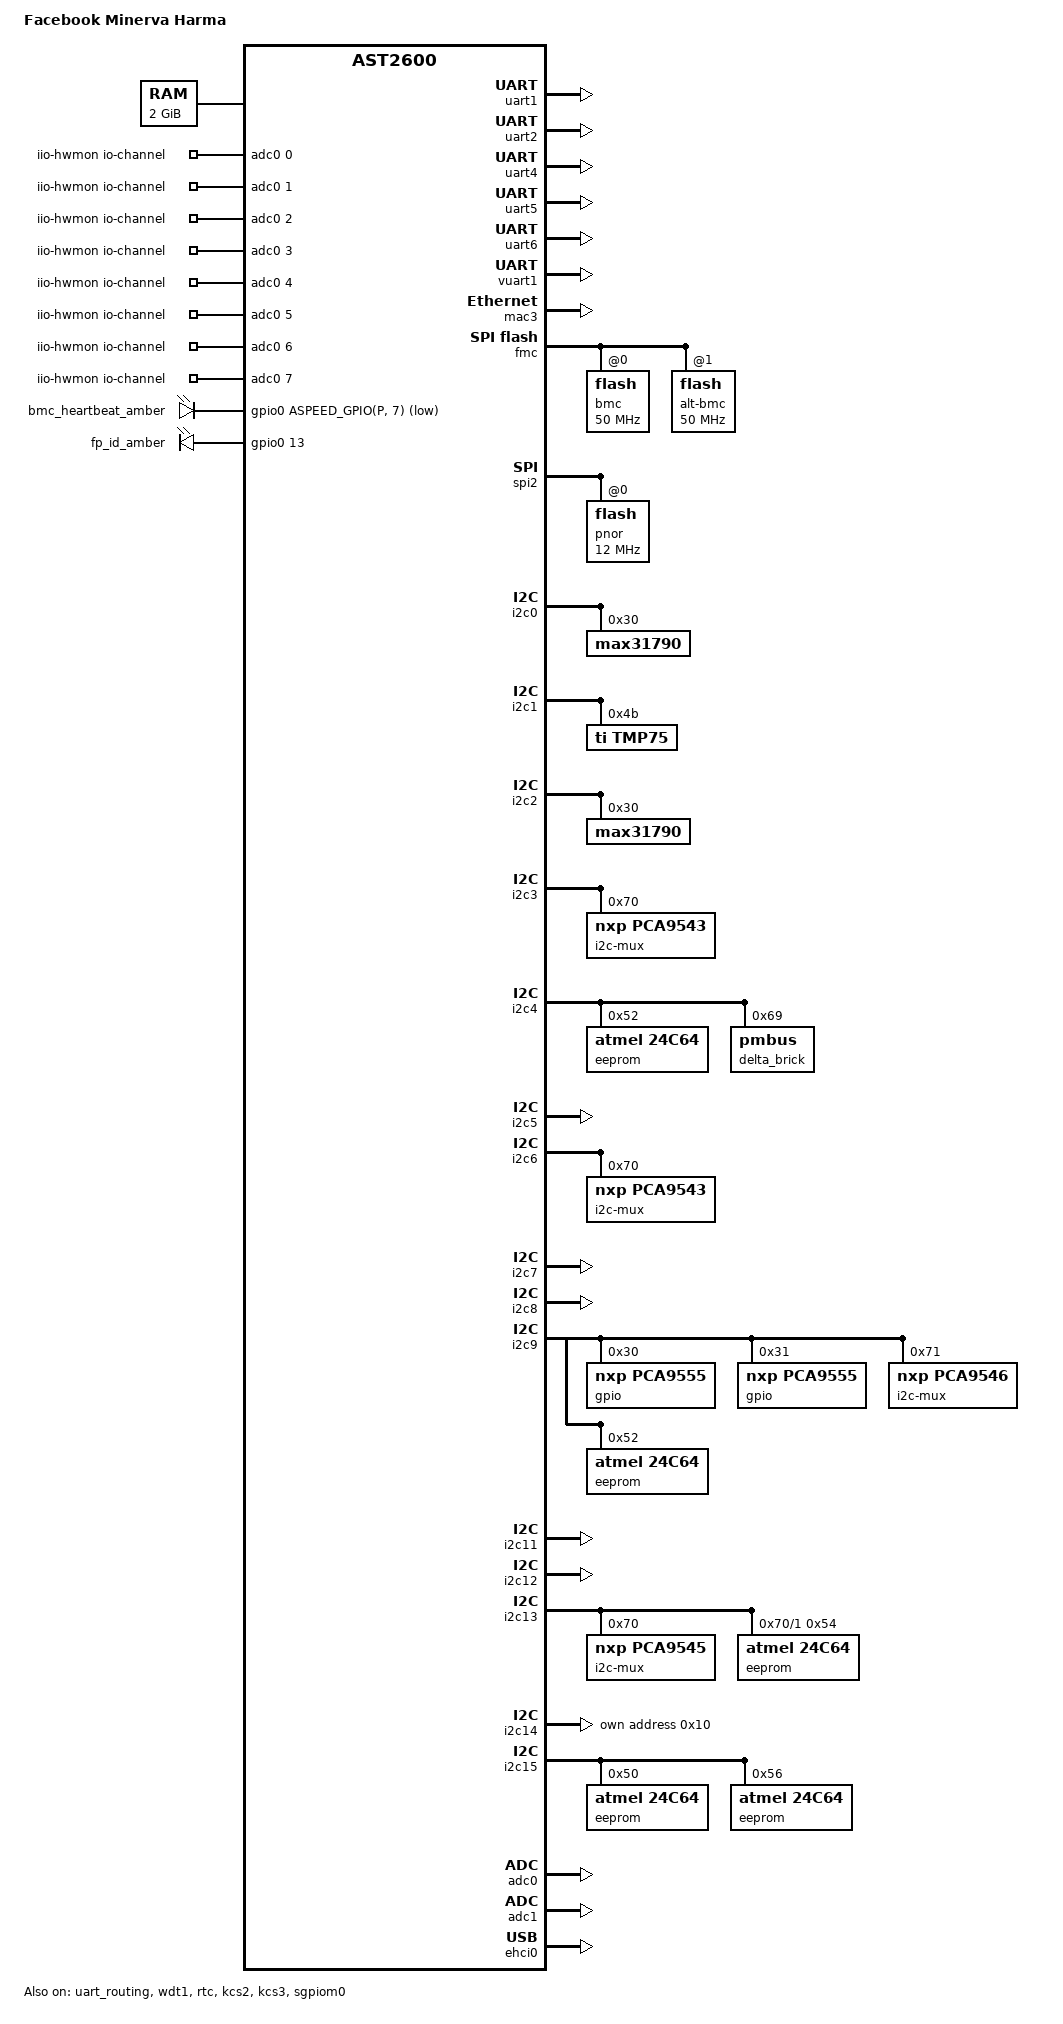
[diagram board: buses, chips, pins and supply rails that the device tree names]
// SPDX-License-Identifier: GPL-2.0-or-later
// Copyright 2023 Facebook Inc.

/dts-v1/;
#include "aspeed-g6.dtsi"
#include <dt-bindings/gpio/aspeed-gpio.h>
#include <dt-bindings/i2c/i2c.h>

/ {
	model = "Facebook Minerva Harma";
	compatible = "facebook,minerva-harma", "aspeed,ast2600";

	aliases {
		serial0 = &uart1;
		serial1 = &uart6;
		serial2 = &uart2;
		serial4 = &uart5;

		i2c20 = &imux20;
		i2c21 = &imux21;
		i2c22 = &imux22;
		i2c23 = &imux23;
		i2c24 = &imux24;
		i2c25 = &imux25;
		i2c26 = &imux26;
		i2c27 = &imux27;
		i2c28 = &imux28;
		i2c29 = &imux29;
		i2c30 = &imux30;
		i2c31 = &imux31;
	};

	chosen {
		stdout-path = &uart5;
	};

	memory@80000000 {
		device_type = "memory";
		reg = <0x80000000 0x80000000>;
	};

	iio-hwmon {
		compatible = "iio-hwmon";
		io-channels = <&adc0 0>, <&adc0 1>, <&adc0 2>, <&adc0 3>,
			      <&adc0 4>, <&adc0 5>, <&adc0 6>, <&adc0 7>,
			      <&adc1 2>;
	};

	leds {
		compatible = "gpio-leds";

		led-0 {
			label = "bmc_heartbeat_amber";
			gpios = <&gpio0 ASPEED_GPIO(P, 7) GPIO_ACTIVE_LOW>;
			linux,default-trigger = "heartbeat";
		};

		led-1 {
			label = "fp_id_amber ";
			default-state = "off";
			gpios = <&gpio0 13 GPIO_ACTIVE_HIGH>;
		};
	};
};

// HOST BIOS Debug
&uart1 {
	status = "okay";
};

// SOL Host Console
&uart2 {
	status = "okay";
	pinctrl-0 = <>;
};

// SOL BMC Console
&uart4 {
	status = "okay";
	pinctrl-0 = <>;
};

// BMC Debug Console
&uart5 {
	status = "okay";
};

// MTIA
&uart6 {
	status = "okay";
};

&uart_routing {
	status = "okay";
};

&vuart1 {
	status = "okay";
	virtual;
	port=<0x3e8>;
	sirq = <7>;
	sirq-polarity = <0>;
	dma-mode;
	dma-channel = <12>;
};

&wdt1 {
	status = "okay";
	pinctrl-names = "default";
	pinctrl-0 = <&pinctrl_wdtrst1_default>;
	aspeed,reset-type = "soc";
	aspeed,external-signal;
	aspeed,ext-push-pull;
	aspeed,ext-active-high;
	aspeed,ext-pulse-duration = <256>;
};

&mac3 {
	status = "okay";
	pinctrl-names = "default";
	pinctrl-0 = <&pinctrl_rmii4_default>;
	no-hw-checksum;
	use-ncsi;
	ncsi-ctrl,start-redo-probe;
	ncsi-ctrl,no-channel-monitor;
	mlx,multi-host;
	ncsi-package = <1>;
	ncsi-channel = <1>;
	ncsi-rexmit = <1>;
	ncsi-timeout = <2>;
};

&rtc {
	status = "okay";
};

&fmc {
	status = "okay";

	flash@0 {
		status = "okay";
		m25p,fast-read;
		label = "bmc";
		spi-max-frequency = <50000000>;
#include "openbmc-flash-layout-128.dtsi"
	};

	flash@1 {
		status = "okay";
		m25p,fast-read;
		label = "alt-bmc";
		spi-max-frequency = <50000000>;
	};
};

// BIOS Flash
&spi2 {
	status = "okay";
	pinctrl-names = "default";
	pinctrl-0 = <&pinctrl_spi2_default>;

	flash@0 {
		status = "okay";
		m25p,fast-read;
		label = "pnor";
		spi-max-frequency = <12000000>;
		spi-tx-bus-width = <2>;
		spi-rx-bus-width = <2>;
	};
};

&kcs2 {
	status = "okay";
	aspeed,lpc-io-reg = <0xca8>;
};

&kcs3 {
	status = "okay";
	aspeed,lpc-io-reg = <0xca2>;
};

&i2c0 {
	status = "okay";

	max31790@30{
		compatible = "max31790";
		reg = <0x30>;
		#address-cells = <1>;
		#size-cells = <0>;
	};
};

&i2c1 {
	status = "okay";

	tmp75@4b {
		compatible = "ti,tmp75";
		reg = <0x4b>;
	};
};

&i2c2 {
	status = "okay";

	max31790@30{
		compatible = "max31790";
		reg = <0x30>;
		#address-cells = <1>;
		#size-cells = <0>;
	};
};

&i2c3 {
	status = "okay";

	i2c-mux@70 {
		compatible = "nxp,pca9543";
		reg = <0x70>;
		#address-cells = <1>;
		#size-cells = <0>;

		imux20: i2c@0 {
			#address-cells = <1>;
			#size-cells = <0>;
			reg = <0>;
		};
		imux21: i2c@1 {
			#address-cells = <1>;
			#size-cells = <0>;
			reg = <1>;
		};
	};
};

&i2c4 {
	status = "okay";
	// PDB FRU
	eeprom@52 {
		compatible = "atmel,24c64";
		reg = <0x52>;
	};

	delta_brick@69 {
		compatible = "pmbus";
		reg = <0x69>;
	};
};

&i2c5 {
	status = "okay";
};

&i2c6 {
	status = "okay";

	i2c-mux@70 {
		compatible = "nxp,pca9543";
		reg = <0x70>;
		#address-cells = <1>;
		#size-cells = <0>;

		imux22: i2c@0 {
			#address-cells = <1>;
			#size-cells = <0>;
			reg = <0>;
		};
		imux23: i2c@1 {
			#address-cells = <1>;
			#size-cells = <0>;
			reg = <1>;
		};
	};
};

&i2c7 {
	status = "okay";
};

&i2c8 {
	status = "okay";
};

&i2c9 {
	status = "okay";

	gpio@30 {
		compatible = "nxp,pca9555";
		reg = <0x30>;
		gpio-controller;
		#gpio-cells = <2>;
	};
	gpio@31 {
		compatible = "nxp,pca9555";
		reg = <0x31>;
		gpio-controller;
		#gpio-cells = <2>;
	};

	i2c-mux@71 {
		compatible = "nxp,pca9546";
		reg = <0x71>;
		#address-cells = <1>;
		#size-cells = <0>;

		imux24: i2c@0 {
			#address-cells = <1>;
			#size-cells = <0>;
			reg = <0>;
		};
		imux25: i2c@1 {
			#address-cells = <1>;
			#size-cells = <0>;
			reg = <1>;
		};
		imux26: i2c@2 {
			#address-cells = <1>;
			#size-cells = <0>;
			reg = <2>;
		};
		imux27: i2c@3 {
			#address-cells = <1>;
			#size-cells = <0>;
			reg = <3>;
		};
	};
	// PTTV FRU
	eeprom@52 {
		compatible = "atmel,24c64";
		reg = <0x52>;
	};
};

&i2c11 {
	status = "okay";
};

&i2c12 {
	status = "okay";
};

&i2c13 {
	status = "okay";

	i2c-mux@70 {
		compatible = "nxp,pca9545";
		reg = <0x70>;
		#address-cells = <1>;
		#size-cells = <0>;

		imux28: i2c@0 {
			#address-cells = <1>;
			#size-cells = <0>;
			reg = <0>;
		};
		imux29: i2c@1 {
			#address-cells = <1>;
			#size-cells = <0>;
			reg = <1>;
			//MB FRU
			eeprom@54 {
				compatible = "atmel,24c64";
				reg = <0x54>;
			};
		};
		imux30: i2c@2 {
			#address-cells = <1>;
			#size-cells = <0>;
			reg = <2>;
		};
		imux31: i2c@3 {
			#address-cells = <1>;
			#size-cells = <0>;
			reg = <3>;
		};
	};
};

// To Debug card
&i2c14 {
	status = "okay";
	multi-master;

	ipmb@10 {
		compatible = "ipmb-dev";
		reg = <(0x10 | I2C_OWN_SLAVE_ADDRESS)>;
		i2c-protocol;
	};
};

&i2c15 {
	status = "okay";

	// SCM FRU
	eeprom@50 {
		compatible = "atmel,24c64";
		reg = <0x50>;
	};

	// BSM FRU
	eeprom@56 {
		compatible = "atmel,24c64";
		reg = <0x56>;
	};
};

&adc0 {
	aspeed,int-vref-microvolt = <2500000>;
	status = "okay";
	pinctrl-0 = <&pinctrl_adc0_default &pinctrl_adc1_default
		&pinctrl_adc2_default &pinctrl_adc3_default
		&pinctrl_adc4_default &pinctrl_adc5_default
		&pinctrl_adc6_default &pinctrl_adc7_default>;
};

&adc1 {
	aspeed,int-vref-microvolt = <2500000>;
	status = "okay";
	pinctrl-names = "default";
	pinctrl-0 = <&pinctrl_adc10_default>;
};

&ehci0 {
	status = "okay";
};

&gpio0 {
	pinctrl-names = "default";
	gpio-line-names =
	/*A0-A7*/	"","","","","","","","",
	/*B0-B7*/	"","","","",
			"FM_BMC_MUX_CS_SPI_SEL_0","FM_ID_LED_N","","",
	/*C0-C7*/	"","","","","","","","",
	/*D0-D7*/	"","","SOL_UART_SET","","","","","",
	/*E0-E7*/	"","","","","","","","",
	/*F0-F7*/	"","","","","","","","",
	/*G0-G7*/	"","","","","","","","",
	/*H0-H7*/	"","","","","","","","",
	/*I0-I7*/	"","","","","","","","",
	/*J0-J7*/	"","","","","","","","",
	/*K0-K7*/	"","","","","","","","",
	/*L0-L7*/	"","","","","","","","",
	/*M0-M7*/	"","","","","","","","",
	/*N0-N7*/	"LED_POSTCODE_0","LED_POSTCODE_1",
			"LED_POSTCODE_2","LED_POSTCODE_3",
			"LED_POSTCODE_4","LED_POSTCODE_5",
			"LED_POSTCODE_6","LED_POSTCODE_7",
	/*O0-O7*/	"","","","","","","","",
	/*P0-P7*/	"FP_SYS_PWRBTN_IN_N","BMC_SYS_PWRBTN_OUT_N",
			"FP_RST_BTN_IN_N","","","","","",
	/*Q0-Q7*/	"","","","","","","","",
	/*R0-R7*/	"","","","","","","","",
	/*S0-S7*/	"","","","","","","","",
	/*T0-T7*/	"","","","","","","","",
	/*U0-U7*/	"","","","","","","","",
	/*V0-V7*/	"","","","","BAT_DETECT","","","",
	/*W0-W7*/	"","","","","","","","",
	/*X0-X7*/	"","","","","","","","",
	/*Y0-Y7*/	"","","","","","","","",
	/*Z0-Z7*/	"","","","","","","","";
};

&sgpiom0 {
	status = "okay";
	max-ngpios = <128>;
	ngpios = <128>;
	bus-frequency = <2000000>;
	gpio-line-names =
	/*in - out - in - out */
	/*A0-A3 line 0-7*/
	"","","","","","","","",
	/*A4-A7 line 8-15*/
	"","","","","","","","",
	/*B0-B3 line 16-23*/
	"","","","","","FM_ID_LED_N","","",
	/*B4-B7 line 24-31*/
	"","","","","","","","",
	/*C0-C3 line 32-39*/
	"","","","","","","","",
	/*C4-C7 line 40-47*/
	"","","","","","","","",
	/*D0-D3 line 48-55*/
	"","","","","","","","",
	/*D4-D7 line 56-63*/
	"","","","","PLD_SYS_POWER_GOOD","","","",
	/*E0-E3 line 64-71*/
	"","","PLD_BIOS_POST_CMPLT_N","","","","","BMC_RST_BTN_OUT_N",
	/*E4-E7 line 72-79*/
	"","RST_CPU_KBRST_N","","","","","","",
	/*F0-F3 line 80-87*/
	"","","","BMC_READY","","SGPIO_READY","","",
	/*F4-F7 line 88-95*/
	"","","","","","","","",
	/*G0-G3 line 96-103*/
	"","","","","","","","",
	/*G4-G7 line 104-111*/
	"","","","","","","","",
	/*H0-H3 line 112-119*/
	"","","","","","","","",
	/*H4-H7 line 120-127*/
	"","","","","","","","",
	/*I0-I3 line 128-135*/
	"","","","","","","","",
	/*I4-I7 line 136-143*/
	"","","","","","","","",
	/*J0-J3 line 144-151*/
	"","","","","","","","",
	/*J4-J7 line 152-159*/
	"","","","","","","","",
	/*K0-K3 line 160-167*/
	"","","","","","","","",
	/*K4-K7 line 168-175*/
	"","","","","","","","",
	/*L0-L3 line 176-183*/
	"","","","","","","","",
	/*L4-L7 line 184-191*/
	"","","","","","","","",
	/*M0-M3 line 192-199*/
	"","","","","","","","",
	/*M4-M7 line 200-207*/
	"","","","","","","","",
	/*N0-N3 line 208-215*/
	"","","","","","","","",
	/*N4-N7 line 216-223*/
	"","","","","","","","",
	/*O0-O3 line 224-231*/
	"","","","","","","","",
	/*O4-O7 line 232-239*/
	"","","","","","","","",
	/*P0-P3 line 240-247*/
	"","","","","","","","",
	/*P4-P7 line 248-255*/
	"","","","","","","","";
};
